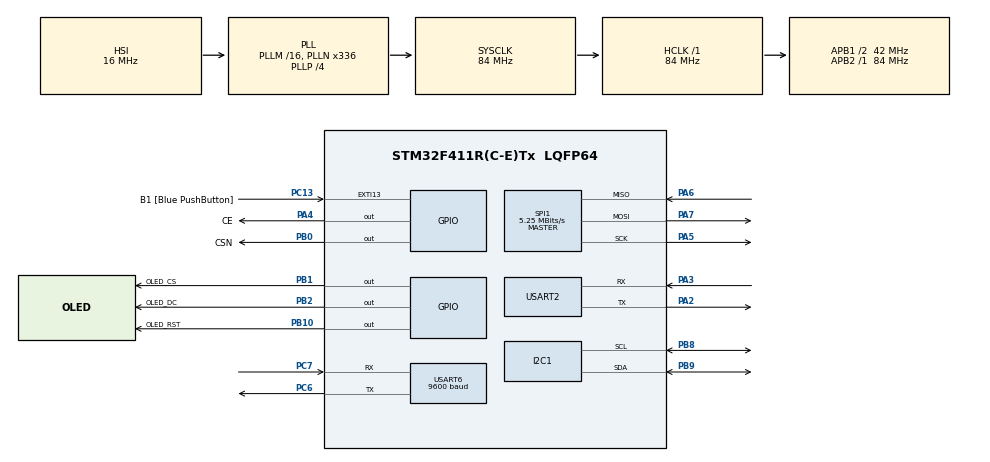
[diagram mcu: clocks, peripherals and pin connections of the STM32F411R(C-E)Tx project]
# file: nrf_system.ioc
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I2C1.I2C_Mode=I2C_Fast
Mcu.Family=STM32F4
Mcu.Name=STM32F411R(C-E)Tx
Mcu.Package=LQFP64
NVIC.PriorityGroup=NVIC_PRIORITYGROUP_0
NVIC.USART6_IRQn=true\:0\:0\:false\:false\:true\:true\:true\:true
PA13.GPIO_Label=TMS
PA13.Mode=Serial_Wire
PA13.Signal=SYS_JTMS-SWDIO
PA14.GPIO_Label=TCK
PA14.Mode=Serial_Wire
PA14.Signal=SYS_JTCK-SWCLK
PA2.Mode=Asynchronous
PA2.Signal=USART2_TX
PA3.Mode=Asynchronous
PA3.Signal=USART2_RX
PA4.GPIO_Label=CE
PA4.Signal=GPIO_Output
PA5.Mode=Full_Duplex_Master
PA5.Signal=SPI1_SCK
PA6.Mode=Full_Duplex_Master
PA6.Signal=SPI1_MISO
PA7.Mode=Full_Duplex_Master
PA7.Signal=SPI1_MOSI
PB0.GPIO_Label=CSN
PB0.Signal=GPIO_Output
PB1.GPIO_Label=OLED_CS
PB1.Signal=GPIO_Output
PB10.GPIO_Label=OLED_RST
PB10.Signal=GPIO_Output
PB2.GPIO_Label=OLED_DC
PB2.Signal=GPIO_Output
PB3.GPIO_Label=SWO
PB3.Signal=SYS_JTDO-SWO
PB8.Mode=I2C
PB8.Signal=I2C1_SCL
PB9.Mode=I2C
PB9.Signal=I2C1_SDA
PC13-ANTI_TAMP.GPIO_Label=B1 [Blue PushButton]
PC13-ANTI_TAMP.GPIO_ModeDefaultEXTI=GPIO_MODE_IT_FALLING
PC13-ANTI_TAMP.Signal=GPXTI13
PC14-OSC32_IN.Mode=LSE-External-Oscillator
PC14-OSC32_IN.Signal=RCC_OSC32_IN
PC15-OSC32_OUT.Mode=LSE-External-Oscillator
PC15-OSC32_OUT.Signal=RCC_OSC32_OUT
PC6.Mode=Asynchronous
PC6.Signal=USART6_TX
PC7.Mode=Asynchronous
PC7.Signal=USART6_RX
PH0\ -\ OSC_IN.Mode=HSE-External-Clock-Source
PH0\ -\ OSC_IN.Signal=RCC_OSC_IN
PH1\ -\ OSC_OUT.Mode=HSE-External-Clock-Source
PH1\ -\ OSC_OUT.Signal=RCC_OSC_OUT
ProjectManager.HeapSize=0x200
ProjectManager.StackSize=0x400
ProjectManager.TargetToolchain=STM32CubeIDE
RCC.48MHZClocksFreq_Value=84000000
RCC.AHBFreq_Value=84000000
RCC.APB1CLKDivider=RCC_HCLK_DIV2
RCC.APB1Freq_Value=42000000
RCC.APB1TimFreq_Value=84000000
RCC.APB2Freq_Value=84000000
RCC.APB2TimFreq_Value=84000000
RCC.CortexFreq_Value=84000000
RCC.FLatency-AdvancedSettings=FLASH_LATENCY_2
RCC.HCLKFreq_Value=84000000
RCC.HSE_VALUE=8000000
RCC.HSI_VALUE=16000000
RCC.PLLN=336
RCC.PLLP=RCC_PLLP_DIV4
RCC.SYSCLKFreq_VALUE=84000000
RCC.SYSCLKSource=RCC_SYSCLKSOURCE_PLLCLK
RCC.VCOOutputFreq_Value=336000000
SPI1.BaudRatePrescaler=SPI_BAUDRATEPRESCALER_16
SPI1.CalculateBaudRate=5.25 MBits/s
SPI1.Direction=SPI_DIRECTION_2LINES
SPI1.Mode=SPI_MODE_MASTER
SPI1.VirtualType=VM_MASTER
USART2.VirtualMode=VM_ASYNC
USART6.BaudRate=9600
USART6.VirtualMode=VM_ASYNC
board=NUCLEO-F411RE

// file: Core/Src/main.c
/* USER CODE BEGIN Header */
/**
  ******************************************************************************
  * @file           : main.c
  * @brief          : Main program body
  ******************************************************************************
  * @attention
  *
  * Copyright (c) 2026 STMicroelectronics.
  * All rights reserved.
  *
  * This software is licensed under terms that can be found in the LICENSE file
  * in the root directory of this software component.
  * If no LICENSE file comes with this software, it is provided AS-IS.
  *
  ******************************************************************************
  */
/* USER CODE END Header */
#include "main.h"
#include "i2c.h"
#include "spi.h"
#include "usart.h"
#include "gpio.h"

/* USER CODE BEGIN Includes */
#include "nrf.h"
#include "gps.h"
#include "MPU6050.h"
#include <string.h>
#include <stdio.h>
#include <stdbool.h>
#include "ssd1306.h"
#include "ssd1306_fonts.h"
#include "oled.h"

/* USER CODE END Includes */
extern UART_HandleTypeDef huart2;
extern UART_HandleTypeDef huart6;
extern SPI_HandleTypeDef  hspi1;
extern I2C_HandleTypeDef  hi2c1;

/* USER CODE BEGIN PV */
extern GPS_Data_t gps_data;

#define NODE_ID          0      /* 0 = Node A,  1 = Node B             */

#define FRAME_MS         100
#define TX_DURATION_MS    20
#define RX_DURATION_MS    80

#define NODE_A_TX_START   0
#define NODE_A_TX_END     TX_DURATION_MS
#define NODE_B_TX_START   (FRAME_MS / 2)
#define NODE_B_TX_END     (NODE_B_TX_START + TX_DURATION_MS)

#define DBG_INTERVAL_MS   1000

/* ---- LED ---- */
/* Nucleo-F411RE: LD2 = PA5. Adjust if your board differs. */
#define BRAKE_LED_PORT    GPIOA
#define BRAKE_LED_PIN     GPIO_PIN_5

static uint16_t  tx_seq            = 0;
static V2VPacket local_pkt;
static char      dbg[256];
static bool      tx_done_this_slot = false;

static V2VPacket remote_pkt;
static bool      remote_fresh      = false;
static uint32_t  last_rx_tick      = 0;

static uint16_t  pdr_last_seq      = 0;
static uint32_t  pdr_rx_count      = 0;
static uint32_t  pdr_expected      = 0;
static bool      pdr_initialized   = false;
#define PDR_MAX_GAP  20

uint32_t last_oled_ms = 0;

/* USER CODE END PV */

void SystemClock_Config(void);
void MX_GPIO_Init(void);
void MX_USART2_UART_Init(void);
void MX_USART6_UART_Init(void);
void MX_SPI1_Init(void);
void MX_I2C1_Init(void);
void Error_Handler(void);

/* USER CODE BEGIN 0 */
/* USER CODE BEGIN 0 */
/* ================================================================
   Helper: UART debug print
================================================================ */
static inline void DBG_Print(const char *s)
{
    HAL_UART_Transmit(&huart2, (uint8_t*)s, strlen(s), 200);
}

/* ================================================================
   Helper: LED update — ON if local OR remote brake active
================================================================ */
static void LED_UpdateBrake(void)
{
    bool brake_alert = (local_pkt.brake_flag) ||
                       (remote_fresh && remote_pkt.brake_flag);

    HAL_GPIO_WritePin(BRAKE_LED_PORT, BRAKE_LED_PIN,
                      brake_alert ? GPIO_PIN_SET : GPIO_PIN_RESET);
}

/* ================================================================
   Dashboard print (1 Hz)
================================================================ */
static void Dashboard_Print(void)
{
    DBG_Print("\r\n========================================\r\n");

    snprintf(dbg, sizeof(dbg),
        " LOCAL  [Node %d]  TX#%-5u\r\n"
        "  GPS : lat=%-12.5f  lon=%-12.5f\r\n"
        "        spd=%.1f km/h   sats=%u   fix=%u\r\n"
        "  IMU : ax=%-7.3f  ay=%-7.3f  az=%-7.3f\r\n"
        "  BRAKE: %s\r\n",
        NODE_ID,
        local_pkt.seq_num,
        (double)(local_pkt.lat_e6    / 1000000.0f),
        (double)(local_pkt.lon_e6    / 1000000.0f),
        (double)(local_pkt.speed_x10 / 10.0f),
        local_pkt.satellites,
        local_pkt.fix_quality,
        (double)local_pkt.accel_x,
        (double)local_pkt.accel_y,
        (double)local_pkt.accel_z,
        local_pkt.brake_flag ? "!! BRAKING !!" : "Normal");
    DBG_Print(dbg);

    DBG_Print("----------------------------------------\r\n");

    if (remote_fresh)
    {
        uint32_t age_ms = HAL_GetTick() - last_rx_tick;
        float    pdr    = (pdr_expected > 0)
                          ? (100.0f * (float)pdr_rx_count / (float)pdr_expected)
                          : 0.0f;
        uint32_t lost   = (pdr_expected > pdr_rx_count)
                          ? (pdr_expected - pdr_rx_count) : 0;

        snprintf(dbg, sizeof(dbg),
            " REMOTE [Node %d]  RX#%-5u  (age: %lu ms)\r\n"
            "  GPS : lat=%-12.5f  lon=%-12.5f\r\n"
            "        spd=%.1f km/h\r\n"
            "  IMU : ax=%-7.3f  ay=%-7.3f  az=%-7.3f\r\n"
            "  BRAKE: %s\r\n"
            "  LINK: PDR=%.1f%%  RX=%lu  Lost=%lu\r\n",
            1 - NODE_ID,
            remote_pkt.seq_num,
            (unsigned long)age_ms,
            (double)(remote_pkt.lat_e6    / 1000000.0f),
            (double)(remote_pkt.lon_e6    / 1000000.0f),
            (double)(remote_pkt.speed_x10 / 10.0f),
            (double)remote_pkt.accel_x,
            (double)remote_pkt.accel_y,
            (double)remote_pkt.accel_z,
            remote_pkt.brake_flag ? "!! BRAKE ALERT !!" : "Normal",
            (double)pdr,
            (unsigned long)pdr_rx_count,
            (unsigned long)lost);
        DBG_Print(dbg);

        if (remote_pkt.brake_flag)
            DBG_Print("  >>> !!! EMERGENCY: REMOTE BRAKE DETECTED !!! <<<\r\n");
    }
    else
    {
        snprintf(dbg, sizeof(dbg),
            " REMOTE [Node %d]  -- No signal yet --\r\n", 1 - NODE_ID);
        DBG_Print(dbg);
    }

    DBG_Print("========================================\r\n");
}
/* ================================================================
   PDR update
================================================================ */
static void PDR_Update(uint16_t seq)
{
    if (!pdr_initialized)
    {
        pdr_last_seq    = seq;
        pdr_initialized = true;
        pdr_rx_count    = 1;
        pdr_expected    = 1;
        return;
    }

    uint16_t gap = (uint16_t)(seq - pdr_last_seq);

    if (gap == 0 || gap > PDR_MAX_GAP)
    {
        pdr_last_seq = seq;
        pdr_rx_count++;
        pdr_expected++;
    }
    else
    {
        pdr_expected += gap;
        pdr_rx_count += 1;
        pdr_last_seq  = seq;
    }
}

/* USER CODE END 0 */

/* USER CODE END 0 */

int main(void)
{

  /* MCU Configuration--------------------------------------------------------*/

  /* Reset of all peripherals, Initializes the Flash interface and the Systick. */
  HAL_Init();

  /* Configure the system clock */
  SystemClock_Config();

  /* Initialize all configured peripherals */
  MX_GPIO_Init();
  MX_USART2_UART_Init();
  MX_I2C1_Init();
  MX_USART6_UART_Init();
  MX_SPI1_Init();
  /* USER CODE BEGIN 2 */
  OLED_Init();
  OLED_ShowBoot();
  DBG_Print("OLED INIT\r\n");
  MPU6050_Initialization();
  GPS_Init(&huart6);
  NRF24_Init();
  NRF24_RX_Mode();

    /* Ensure LED pin is off at start */
    HAL_GPIO_WritePin(BRAKE_LED_PORT, BRAKE_LED_PIN, GPIO_PIN_RESET);

    snprintf(dbg, sizeof(dbg),
        "\r\n=== V2V Transceiver  Node %d  Ready ===\r\n"
        "    Frame: %d ms  |  TX slot: %d ms  |  RX window: %d ms\r\n"
        "    Node A TX: 0-%d ms    Node B TX: %d-%d ms\r\n\r\n",
        NODE_ID, FRAME_MS, TX_DURATION_MS, RX_DURATION_MS,
        NODE_A_TX_END, NODE_B_TX_START, NODE_B_TX_END);
   // DBG_Print(dbg);
  /* USER CODE END 2 */

  /* Infinite loop */
  /* USER CODE BEGIN WHILE */

    uint32_t last_mpu_ms = 0;
    uint32_t last_dbg_ms = 0;
    bool     was_in_tx   = false;   /* track TX→RX transition */
  while (1)
  {
    /* USER CODE END WHILE */

	  if(HAL_GetTick() - last_oled_ms >= 200)
	      {
	          last_oled_ms = HAL_GetTick();

	          if(remote_fresh && remote_pkt.brake_flag)
	          {
	              OLED_ShowBrakeAlert();
	          }
	          else
	          {
	              OLED_ShowNormal(
	                  MPU6050.acc_x,
	                  MPU6050.acc_y,
	                  MPU6050.acc_z,
	                  gps_data.speed_kmh,
	                  gps_data.fix_quality
	              );
	          }
	      }
	  GPS_Process();

	  if (HAL_GetTick() - last_mpu_ms >= 5)
	  {
	      last_mpu_ms = HAL_GetTick();

	      MPU6050_Get6AxisRawData(&MPU6050);
	      MPU6050_ProcessData(&MPU6050);
	  }
	  uint32_t now      = HAL_GetTick();
	  uint32_t phase_ms = now % FRAME_MS;

	  bool in_tx_slot;
	  #if (NODE_ID == 0)
	      in_tx_slot = (phase_ms >= NODE_A_TX_START && phase_ms < NODE_A_TX_END);
	  #else
	      in_tx_slot = (phase_ms >= NODE_B_TX_START && phase_ms < NODE_B_TX_END);
	  #endif

	        /* ---- TX ---- */
	        if (in_tx_slot)
	        {
	            /* Switch to TX mode only on slot entry */
	            if (!was_in_tx)
	            {
	                NRF24_TX_Mode();
	                was_in_tx = true;
	            }

	            if (!tx_done_this_slot)
	            {
	                tx_done_this_slot = true;

	                V2VPacket pkt;
	                memset(&pkt, 0, sizeof(pkt));

	                pkt.lat_e6      = (int32_t)(gps_data.latitude  * 1000000.0);
	                pkt.lon_e6      = (int32_t)(gps_data.longitude * 1000000.0);
	                pkt.speed_x10   = (uint16_t)(gps_data.speed_kmh * 10.0);
	                pkt.satellites  = gps_data.satellites;
	                pkt.fix_quality = gps_data.fix_quality;

	                pkt.accel_x    = MPU6050.acc_x;
	                pkt.accel_y    = MPU6050.acc_y;
	                pkt.accel_z    = MPU6050.acc_z;
	                pkt.brake_flag = (MPU6050.acc_x < -0.6f) ? 1 : 0;

	                pkt.seq_num  = tx_seq++;
	                pkt.tx_ts_ms = now;
	                pkt.checksum = NRF24_CalcChecksum((uint8_t*)&pkt,
	                                                   sizeof(V2VPacket) - 1);

	                bool ok = NRF24_Transmit((uint8_t*)&pkt, sizeof(V2VPacket));
	                local_pkt = pkt;

	                snprintf(dbg, sizeof(dbg),
	                    "[TX#%u] phase=%lums  %s  brk=%u\r\n",
	                    pkt.seq_num,
	                    (unsigned long)phase_ms,
	                    ok ? "RF:OK" : "RF:FAIL",
	                    pkt.brake_flag);
	                DBG_Print(dbg);

	                /* Update LED immediately after TX */
	                LED_UpdateBrake();
	            }
	        }
	        else
	        {
	            /* ---- Entered RX window ---- */
	        	if (was_in_tx)
	        	{
	        	    /* Transition: TX slot just ended — switch radio to RX */
	        	    NRF24_RX_Mode();

	        	    DBG_Print("ENTER RX MODE\r\n");

	        	    was_in_tx         = false;
	        	    tx_done_this_slot = false;
	        	}

	            /* Poll for incoming packet */
	            V2VPacket rx_buf;
	            if (NRF24_ReadPacket((uint8_t*)&rx_buf, sizeof(V2VPacket)))
	            {
	            	DBG_Print("PACKET RECEIVED\r\n");
	                uint8_t calc = NRF24_CalcChecksum((uint8_t*)&rx_buf,
	                                                   sizeof(V2VPacket) - 1);
	                if (calc == rx_buf.checksum)
	                {
	                    remote_pkt   = rx_buf;
	                    remote_fresh = true;
	                    last_rx_tick = HAL_GetTick();

	                    PDR_Update(rx_buf.seq_num);
	                    LED_UpdateBrake();   /* update LED on remote brake change */

	                    snprintf(dbg, sizeof(dbg),
	                        "[RX#%u] phase=%lums  brk=%u\r\n",
	                        rx_buf.seq_num,
	                        (unsigned long)phase_ms,
	                        rx_buf.brake_flag);
	                    DBG_Print(dbg);

	                    if (rx_buf.brake_flag)
	                        DBG_Print("  !!! REMOTE BRAKE ALERT !!!\r\n");
	                }
	                else
	                {
	                    snprintf(dbg, sizeof(dbg),
	                        "[RX] BAD CHECKSUM seq=%u  calc=0x%02X  got=0x%02X\r\n",
	                        rx_buf.seq_num, calc, rx_buf.checksum);
	                    DBG_Print(dbg);
	                }
	            }
	        }

	        /* ---- Dashboard at 1 Hz ---- */
	        if (HAL_GetTick() - last_dbg_ms >= DBG_INTERVAL_MS)
	        {
	            last_dbg_ms = HAL_GetTick();
	            Dashboard_Print();
	        }

  }
}

void SystemClock_Config(void)
{
  RCC_OscInitTypeDef RCC_OscInitStruct = {0};
  RCC_ClkInitTypeDef RCC_ClkInitStruct = {0};

  /** Configure the main internal regulator output voltage
  */
  __HAL_RCC_PWR_CLK_ENABLE();
  __HAL_PWR_VOLTAGESCALING_CONFIG(PWR_REGULATOR_VOLTAGE_SCALE1);

  /** Initializes the RCC Oscillators according to the specified parameters
  * in the RCC_OscInitTypeDef structure.
  */
  RCC_OscInitStruct.OscillatorType = RCC_OSCILLATORTYPE_HSI;
  RCC_OscInitStruct.HSIState = RCC_HSI_ON;
  RCC_OscInitStruct.HSICalibrationValue = RCC_HSICALIBRATION_DEFAULT;
  RCC_OscInitStruct.PLL.PLLState = RCC_PLL_ON;
  RCC_OscInitStruct.PLL.PLLSource = RCC_PLLSOURCE_HSI;
  RCC_OscInitStruct.PLL.PLLM = 16;
  RCC_OscInitStruct.PLL.PLLN = 336;
  RCC_OscInitStruct.PLL.PLLP = RCC_PLLP_DIV4;
  RCC_OscInitStruct.PLL.PLLQ = 4;
  if (HAL_RCC_OscConfig(&RCC_OscInitStruct) != HAL_OK)
  {
    Error_Handler();
  }

  /** Initializes the CPU, AHB and APB buses clocks
  */
  RCC_ClkInitStruct.ClockType = RCC_CLOCKTYPE_HCLK|RCC_CLOCKTYPE_SYSCLK
                              |RCC_CLOCKTYPE_PCLK1|RCC_CLOCKTYPE_PCLK2;
  RCC_ClkInitStruct.SYSCLKSource = RCC_SYSCLKSOURCE_PLLCLK;
  RCC_ClkInitStruct.AHBCLKDivider = RCC_SYSCLK_DIV1;
  RCC_ClkInitStruct.APB1CLKDivider = RCC_HCLK_DIV2;
  RCC_ClkInitStruct.APB2CLKDivider = RCC_HCLK_DIV1;

  if (HAL_RCC_ClockConfig(&RCC_ClkInitStruct, FLASH_LATENCY_2) != HAL_OK)
  {
    Error_Handler();
  }
}

void Error_Handler(void)
{
  __disable_irq();
  while (1)
  {
  }
}
